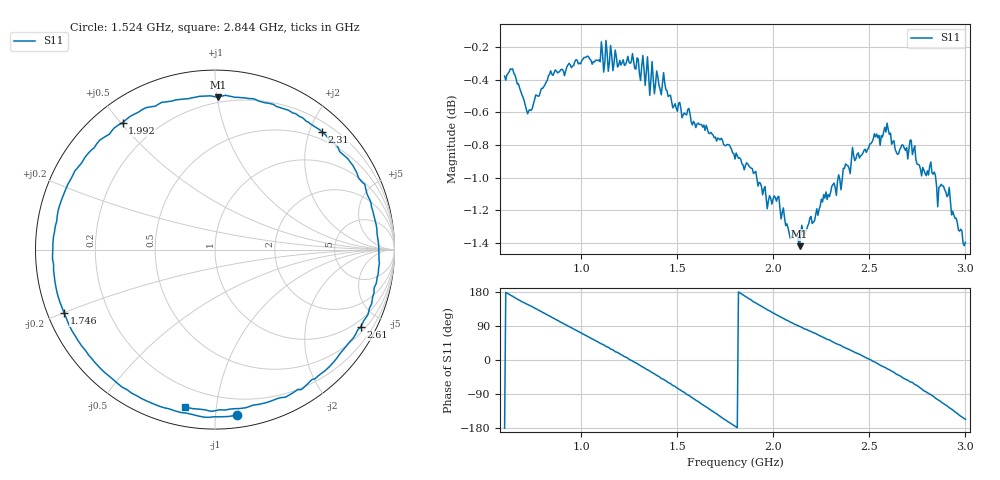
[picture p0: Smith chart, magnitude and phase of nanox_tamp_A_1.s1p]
! nanovna_capture.py 2026-10-18T19:28:21+0900
! NanoVNA-F_V2 fw 0.6.0 SN 4A3639384505514B
! cal: load open short cal'ed  over 600000000-3000000000 Hz, 201 points
! points 401, avg 4
! modified (implanted) Nano X, position A (behind left button, over implant antenna), tip touching shell, placement 1
# HZ S RI R 50
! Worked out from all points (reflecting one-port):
!   401 points, 600 MHz to 3 GHz, reference 50 ohm
!   lowest |S11| = -1.4 dB at 2.136 GHz (marker M1), VSWR 12.25, Z = 8.27 + j50.3 ohm
!   phase of S11 starts at -180 deg and turns -696 deg over the sweep
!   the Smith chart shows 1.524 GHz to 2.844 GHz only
!   S11 on the Smith chart (normalised r, x): 1.524 GHz: 0.08, -1.14; 1.746 GHz: 0.05, -0.20; 1.992 GHz: 0.08, +0.51; 2.31 GHz: 0.36, +2.21; 2.61 GHz: 0.69, -3.89; 2.844 GHz: 0.10, -0.82
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6e8  -0.9575 -0.00196
6.54e8  -0.923 0.2576
7.56e8  -0.6918 0.6387
9e8  -0.1323 0.9529
1.032e9  0.4526 0.8592
1.116e9  0.7349 0.618
1.2e9  0.9322 0.2616
1.26e9  0.967 -0.017
1.332e9  0.8799 -0.3614
1.422e9  0.6144 -0.7279
1.5e9  0.2491 -0.9001
1.524e9  0.1224 -0.9216
1.626e9  -0.4098 -0.8295
1.746e9  -0.8403 -0.3537
1.8e9  -0.8992 -0.0824
1.878e9  -0.8445 0.3046
1.992e9  -0.5151 0.707
2.1e9  -0.1119 0.8485
2.136e9  0.0172 0.8489
2.31e9  0.5964 0.6563
2.4e9  0.7996 0.3992
2.514e9  0.9134 -0.0345
2.61e9  0.8119 -0.4319
2.7e9  0.539 -0.7245
2.778e9  0.1727 -0.8809
2.844e9  -0.166 -0.8769
2.91e9  -0.4832 -0.7356
3e9  -0.7799 -0.3417
